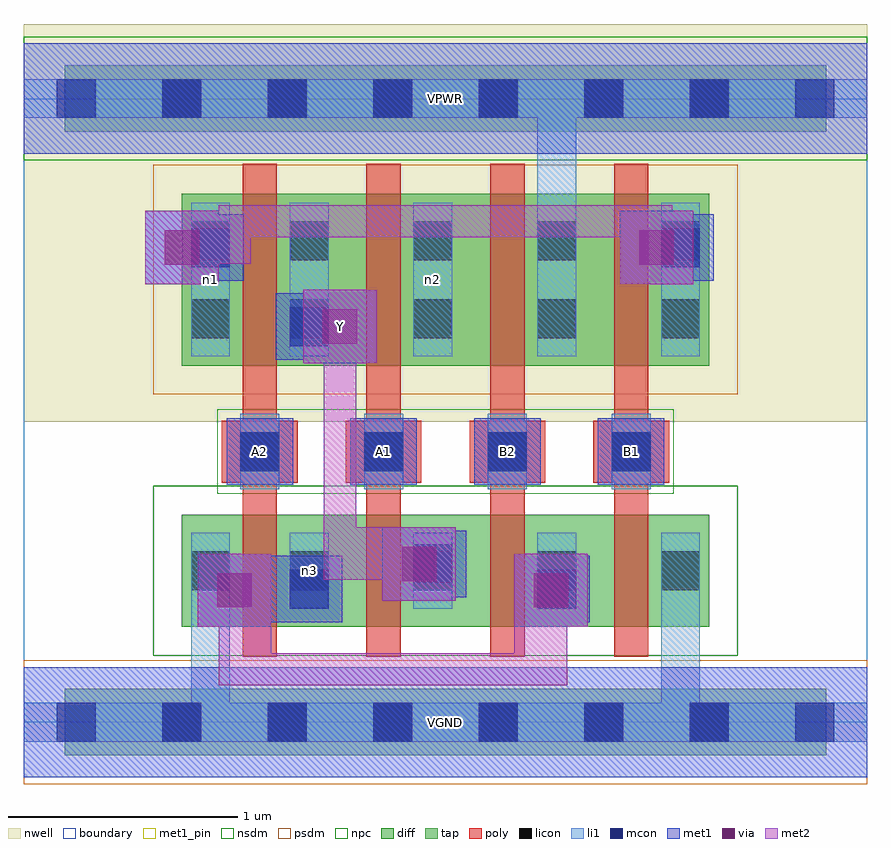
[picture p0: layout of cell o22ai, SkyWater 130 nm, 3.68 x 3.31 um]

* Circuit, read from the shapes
.subckt o22ai A1 A2 B1 B2 VGND VPWR Y n1 n2 n3
XM1 n3 A2 VGND VGND sky130_fd_pr__nfet_01v8 w=0.49 l=0.15
XM2 Y A1 n3 VGND sky130_fd_pr__nfet_01v8 w=0.49 l=0.15
XM3 n3 B2 Y VGND sky130_fd_pr__nfet_01v8 w=0.49 l=0.15
XM4 VGND B1 n3 VGND sky130_fd_pr__nfet_01v8 w=0.49 l=0.15
XM5 Y A2 n1 VPWR sky130_fd_pr__pfet_01v8 w=0.75 l=0.15
XM6 n2 A1 Y VPWR sky130_fd_pr__pfet_01v8 w=0.75 l=0.15
XM7 VPWR B2 n2 VPWR sky130_fd_pr__pfet_01v8 w=0.75 l=0.15
XM8 n1 B1 VPWR VPWR sky130_fd_pr__pfet_01v8 w=0.75 l=0.15
.ends

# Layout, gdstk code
import gdstk
lib = gdstk.Library(unit=1e-6, precision=1e-09)
def R(c, l, rs):  # rectangles x0, y0, x1, y1
    for r in rs: c.add(gdstk.rectangle(r[:2], r[2:], *l))
def A(c, l, x, y, w, h, nx, ny, dx, dy):  # array of equal rectangles
    R(c, l, [(x+i*dx, y+j*dy, x+i*dx+w, y+j*dy+h) for i in range(nx) for j in range(ny)])
nwell = (64, 20)
diff = (65, 20)
tap = (65, 44)
poly = (66, 20)
licon = (66, 44)
li1 = (67, 20)
mcon = (67, 44)
met1_pin = (68, 16)
met1 = (68, 20)
via = (68, 44)
met2 = (69, 20)
nsdm = (93, 44)
psdm = (94, 20)
npc = (95, 20)
boundary = (235, 4)

o22ai = lib.new_cell('o22ai')
R(o22ai, nwell, [(0,1.31,3.68,3.045)])
R(o22ai, diff, [(0.69,0.415,2.99,0.905), (0.69,1.555,2.99,2.305)])
R(o22ai, tap, [(0.18,-0.145,3.5,0.145), (0.18,2.575,3.5,2.865)])
A(o22ai, poly, 0.955, 0.285, 0.15, 2.15, 4, 1, 0.54, 0)
A(o22ai, poly, 0.865, 1.045, 0.33, 0.27, 4, 1, 0.54, 0)
A(o22ai, licon, 0.605, -0.085, 0.17, 0.17, 6, 2, 0.46, 2.72)
A(o22ai, licon, 1.16, 0.575, 0.17, 0.17, 4, 2, 0.54, 1.1)
A(o22ai, licon, 0.945, 1.095, 0.17, 0.17, 4, 1, 0.54, 0)
A(o22ai, licon, 1.16, 2.015, 0.17, 0.17, 4, 1, 0.54, 0)
R(o22ai, licon, [(0.73,0.575,0.9,0.745), (0.73,1.675,0.9,1.845), (0.73,2.015,0.9,2.185)])
A(o22ai, li1, 1.16, 0.495, 0.17, 0.33, 4, 1, 0.54, 0)
A(o22ai, li1, 0.945, 1.015, 0.17, 0.33, 4, 1, 0.54, 0)
A(o22ai, li1, 1.16, 1.595, 0.17, 0.67, 4, 1, 0.54, 0)
R(o22ai, li1, [(0,-0.085,3.68,0.085), (0.73,-0.085,0.9,0.825), (2.78,-0.085,2.95,0.825), (0.73,0.495,0.9,0.825), (0.73,1.595,0.9,2.265), (2.24,1.595,2.41,2.805), (0,2.635,3.68,2.805)])
A(o22ai, mcon, 0.145, -0.085, 0.17, 0.17, 8, 2, 0.46, 2.72)
A(o22ai, mcon, 0.945, 1.095, 0.17, 0.17, 4, 1, 0.54, 0)
R(o22ai, mcon, [(1.16,0.495,1.33,0.665), (2.24,0.495,2.41,0.665), (1.7,0.605,1.87,0.775), (1.16,1.64,1.33,1.81), (0.73,1.985,0.9,2.155), (2.78,1.985,2.95,2.155)])
A(o22ai, met1_pin, 0.885, 1.035, 0.29, 0.29, 4, 1, 0.54, 0)
R(o22ai, met1_pin, [(0,-0.24,3.68,0.24), (1.22,1.565,1.54,1.885), (0,2.48,3.68,2.96)])
A(o22ai, met1, 0.885, 1.035, 0.29, 0.29, 4, 1, 0.54, 0)
R(o22ai, met1, [(0,-0.24,3.68,0.24), (0.76,0.415,1.08,0.735), (2.14,0.415,2.46,0.735), (1.08,0.435,1.1,0.725), (1.1,0.435,1.39,0.725), (2.18,0.435,2.47,0.725), (0.85,0.505,1.22,0.645), (1.08,0.505,1.22,0.65), (2.23,0.505,2.37,0.65), (1.08,0.51,1.315,0.65), (2.23,0.51,2.395,0.65), (1.565,0.53,1.885,0.85), (1.64,0.545,1.93,0.835), (1.655,0.62,1.855,0.76), (1.22,1.565,1.54,1.885), (1.1,1.58,1.39,1.87), (1.175,1.655,1.45,1.795), (0.53,1.91,0.85,2.23), (2.6,1.91,2.92,2.23), (0.67,1.925,0.96,2.215), (2.72,1.925,3.01,2.215), (0.62,2,0.885,2.14), (2.69,2,2.935,2.14), (0,2.48,3.68,2.96)])
R(o22ai, via, [(0.845,0.5,0.995,0.65), (2.225,0.5,2.375,0.65), (1.65,0.615,1.8,0.765), (1.305,1.65,1.455,1.8), (0.615,1.995,0.765,2.145), (2.685,1.995,2.835,2.145)])
R(o22ai, met2, [(0.85,0.16,0.99,0.645), (0.85,0.16,2.37,0.3), (2.23,0.16,2.37,0.645), (0.85,0.3,1.08,0.415), (2.14,0.3,2.37,0.415), (0.76,0.415,1.08,0.735), (2.14,0.415,2.46,0.735), (1.565,0.53,1.885,0.85), (1.31,0.62,1.45,1.795), (1.31,0.62,1.795,0.76), (1.45,0.62,1.565,0.85), (1.22,1.565,1.54,1.885), (0.53,1.91,0.85,2.23), (2.6,1.91,2.92,2.23), (0.62,2,0.99,2.14), (0.85,2,0.99,2.255), (2.69,2,2.83,2.255), (0.85,2.115,2.83,2.255)])
R(o22ai, nsdm, [(0.565,0.29,3.115,1.03), (0,2.45,3.68,2.99)])
R(o22ai, psdm, [(0,-0.27,3.68,0.27), (0.565,1.43,3.115,2.43)])
R(o22ai, npc, [(0.845,0.995,2.835,1.365)])
R(o22ai, boundary, [(0,0,3.68,2.72)])
o22ai.add(gdstk.Label('n3', (1.245,0.66), layer=67, texttype=5))
o22ai.add(gdstk.Label('n1', (0.815,1.93), layer=67, texttype=5))
o22ai.add(gdstk.Label('n2', (1.785,1.93), layer=67, texttype=5))
o22ai.add(gdstk.Label('A1', (1.57,1.18), layer=68, texttype=5))
o22ai.add(gdstk.Label('A2', (1.03,1.18), layer=68, texttype=5))
o22ai.add(gdstk.Label('B1', (2.65,1.18), layer=68, texttype=5))
o22ai.add(gdstk.Label('B2', (2.11,1.18), layer=68, texttype=5))
o22ai.add(gdstk.Label('Y', (1.38,1.725), layer=68, texttype=5))
o22ai.add(gdstk.Label('VPWR', (1.84,2.72), layer=68, texttype=5))
o22ai.add(gdstk.Label('VGND', (1.84,0), layer=68, texttype=5))
o22ai.add(gdstk.Label('A1', (1.57,1.18), layer=68, texttype=16))
o22ai.add(gdstk.Label('A2', (1.03,1.18), layer=68, texttype=16))
o22ai.add(gdstk.Label('B1', (2.65,1.18), layer=68, texttype=16))
o22ai.add(gdstk.Label('B2', (2.11,1.18), layer=68, texttype=16))
o22ai.add(gdstk.Label('Y', (1.38,1.725), layer=68, texttype=16))
o22ai.add(gdstk.Label('VPWR', (1.84,2.72), layer=68, texttype=16))
o22ai.add(gdstk.Label('VGND', (1.84,0), layer=68, texttype=16))

lib.write_gds('o22ai.gds')
